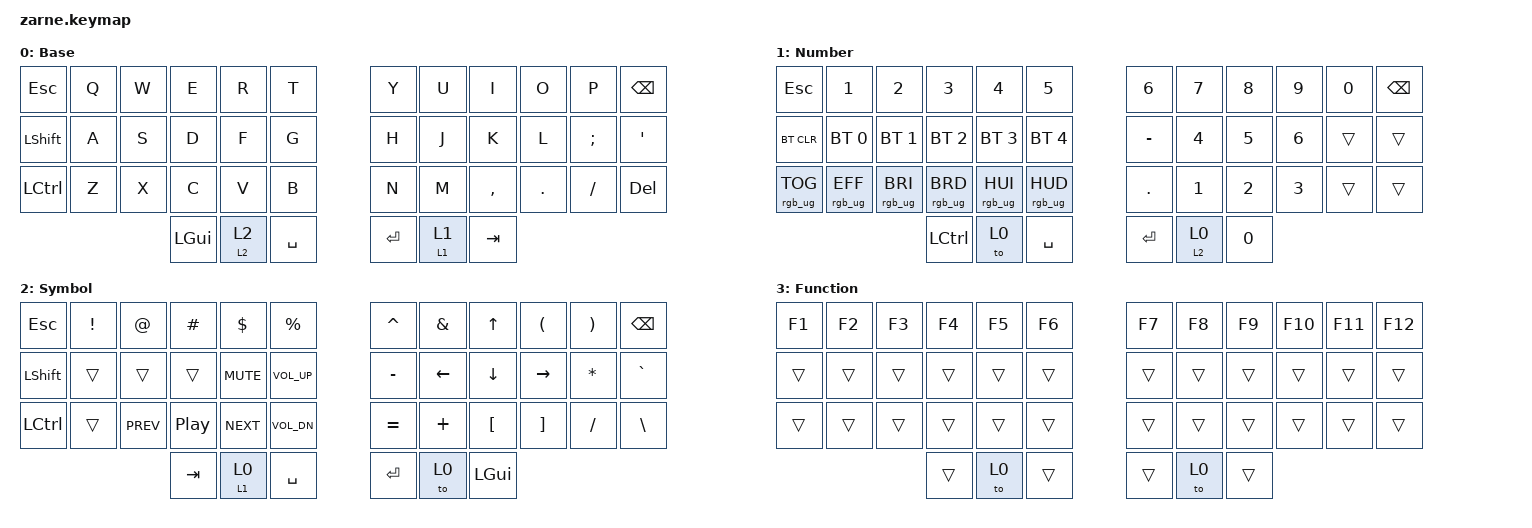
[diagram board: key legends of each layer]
/*
 * Copyright (c) 2020 The ZMK Contributors
 *
 * SPDX-License-Identifier: MIT
 */

#include <behaviors.dtsi>
#include <dt-bindings/zmk/bt.h>
#include <dt-bindings/zmk/keys.h>
#include <dt-bindings/zmk/rgb.h>

/ {
    combos {
        compatible = "zmk,combos";

        Both {
            bindings = <&fix 0 3>;
            key-positions = <37 40>;
            layers = <0 2 3 1>;
        };

        Alt {
            bindings = <&kp LEFT_ALT>;
            key-positions = <40 41>;
            layers = <0 2 3 1>;
        };

        Super {
            bindings = <&kp TAB>;
            key-positions = <36 37>;
            layers = <0 2 3 1>;
        };

        symbol-alt {
            bindings = <&Lower 2 2>;
            key-positions = <40 39>;
        };

        num-alt {
            bindings = <&Lower 1 1>;
            key-positions = <37 38>;
        };

        alt-tab {
            bindings = <&kp LA(TAB)>;
            key-positions = <12 0>;
        };
    };

    behaviors {
        Raise: Raise {
            compatible = "zmk,behavior-hold-tap";
            label = "RAISE";
            bindings = <&mo>, <&to>;

            #binding-cells = <2>;
            tapping-term-ms = <200>;
            hold-while-undecided;
        };

        Lower: Lower {
            compatible = "zmk,behavior-hold-tap";
            label = "LOWER";
            bindings = <&mo>, <&to>;

            #binding-cells = <2>;
            tapping-term-ms = <200>;
            flavor = "balanced";
            hold-while-undecided;
        };

        fix: fix {
            compatible = "zmk,behavior-hold-tap";
            label = "FIX";
            bindings = <&to>, <&to>;

            #binding-cells = <2>;
            tapping-term-ms = <200>;
            flavor = "balanced";
        };
    };

    macros {
        word: word {
            compatible = "zmk,behavior-macro";
            #binding-cells = <0>;
            bindings = <&kp LC(LA(DEL))>;
            label = "WORD";
        };
    };

    keymap {
        compatible = "zmk,keymap";

        BAS {
            display-name = "Base";

            // -----------------------------------------------------------------------------------------
            // |  TAB |  Q  |  W  |  E  |  R  |  T  |   |  Y  |  U   |  I  |  O  |  P  | BSPC |
            // | CTRL |  A  |  S  |  D  |  F  |  G  |   |  H  |  J   |  K  |  L  |  ;  |  '   |
            // | SHFT |  Z  |  X  |  C  |  V  |  B  |   |  N  |  M   |  ,  |  .  |  /  | ESC  |
            //                    | GUI | LWR | SPC |   | ENT | RSE  | ALT |

            bindings = <
&kp ESC    &kp Q  &kp W  &kp E         &kp R       &kp T        &kp Y    &kp U       &kp I      &kp O    &kp P     &kp BSPC
&kp LSHFT  &kp A  &kp S  &kp D         &kp F       &kp G        &kp H    &kp J       &kp K      &kp L    &kp SEMI  &kp SQT
&kp LCTRL  &kp Z  &kp X  &kp C         &kp V       &kp B        &kp N    &kp M       &kp COMMA  &kp DOT  &kp FSLH  &kp DEL
                         &kp LEFT_GUI  &Lower 2 2  &kp SPACE    &kp RET  &Raise 1 1  &kp TAB
            >;
        };

        NUM {
            display-name = "Number";

            // -----------------------------------------------------------------------------------------
            // |  TAB |  1  |  2  |  3  |  4  |  5  |   |  6  |  7  |  8  |  9  |  0  | BSPC |
            // | BTCLR| BT1 | BT2 | BT3 | BT4 | BT5 |   | LFT | DWN |  UP | RGT |     |      |
            // | SHFT |     |     |     |     |     |   |     |     |     |     |     |      |
            //                    | GUI |     | SPC |   | ENT |     | ALT |

            bindings = <
&kp ESCAPE       &kp N1           &kp N2           &kp N3           &kp N4           &kp N5             &kp N6      &kp N7      &kp N8  &kp N9  &kp N0  &kp BSPC
&bt BT_CLR       &bt BT_SEL 0     &bt BT_SEL 1     &bt BT_SEL 2     &bt BT_SEL 3     &bt BT_SEL 4       &kp MINUS   &kp N4      &kp N5  &kp N6  &trans  &trans
&rgb_ug RGB_TOG  &rgb_ug RGB_EFF  &rgb_ug RGB_BRI  &rgb_ug RGB_BRD  &rgb_ug RGB_HUI  &rgb_ug RGB_HUD    &kp DOT     &kp N1      &kp N2  &kp N3  &trans  &trans
                                                   &kp LCTRL        &to 0            &kp SPACE          &kp RET     &Raise 2 0  &kp N0
            >;
        };

        SYM {
            display-name = "Symbol";

            // -----------------------------------------------------------------------------------------
            // |  TAB |  !  |  @  |  #  |  $  |  %  |   |  ^  |  &  |  *  |  (  |  )  | BSPC |
            // | CTRL |     |     |     |     |     |   |  -  |  =  |  [  |  ]  |  \  |  `   |
            // | SHFT |     |     |     |     |     |   |  _  |  +  |  {  |  }  | "|" |  ~   |
            //                    | GUI |     | SPC |   | ENT |     | ALT |

            bindings = <
&kp ESC    &kp EXCL  &kp AT      &kp HASH  &kp DLLR    &kp PRCNT       &kp CARET  &kp AMPS  &kp UP            &kp LPAR           &kp RPAR      &kp BSPC
&kp LSHFT  &trans    &trans      &trans    &kp C_MUTE  &kp C_VOL_UP    &kp MINUS  &kp LEFT  &kp DOWN          &kp RIGHT          &kp ASTERISK  &kp GRAVE
&kp LCTRL  &trans    &kp C_PREV  &kp C_PP  &kp C_NEXT  &kp C_VOL_DN    &kp EQUAL  &kp PLUS  &kp LEFT_BRACKET  &kp RIGHT_BRACKET  &kp SLASH     &kp BSLH
                                 &kp TAB   &Lower 1 0  &kp SPACE       &kp RET    &to 0     &kp LEFT_GUI
            >;
        };

        FN {
            display-name = "Function";
            bindings = <
&kp F1  &kp F2  &kp F3  &kp F4  &kp F5  &kp F6    &kp F7  &kp F8  &kp F9  &kp F10  &kp F11  &kp F12
&trans  &trans  &trans  &trans  &trans  &trans    &trans  &trans  &trans  &trans   &trans   &trans
&trans  &trans  &trans  &trans  &trans  &trans    &trans  &trans  &trans  &trans   &trans   &trans
                        &trans  &to 0   &trans    &trans  &to 0   &trans
            >;
        };

        //        PLV {
        //            display-name = "Steno";
        //            bindings = <
        //&kp ESC  &kp PLV_SL  &kp PLV_TL  &kp PLV_PL  &kp PLV_HL  &kp PLV_ST    &kp PLV_ST  &kp PLV_FR  &kp PLV_PR  &kp PLV_LR  &kp PLV_TR  &kp PLV_DR
        //&kp TAB  &kp PLV_SL  &kp PLV_KL  &kp PLV_WL  &kp PLV_RL  &kp PLV_ST    &kp PLV_ST  &kp PLV_RR  &kp PLV_BR  &kp PLV_GR  &kp PLV_SR  &kp PLV_ZR
        //&to 0    &kp PLV_X1  &kp PLV_X2  &kp PLV_X3  &kp PLV_X4  &kp PLV_X5    &kp PLV_X6  &kp PLV_X7  &kp PLV_X8  &kp PLV_X9  &kp PLV_X10  &none
        //                                 &kp PLV_NM  &kp PLV_A   &kp PLV_O     &kp PLV_E   &kp PLV_U   &kp PLV_NM
        //            >;
        //        };
    };

    kscan0: kscan {
        compatible = "zmk,kscan-gpio-matrix";
        wakeup-source;
        diode-direction = "col2row";
        row-gpios =
            <&gpio1 0 (GPIO_ACTIVE_HIGH | GPIO_PULL_DOWN)>,
            <&gpio0 11 (GPIO_ACTIVE_HIGH | GPIO_PULL_DOWN)>,
            <&gpio1 4 (GPIO_ACTIVE_HIGH | GPIO_PULL_DOWN)>,
            <&gpio1 6 (GPIO_ACTIVE_HIGH | GPIO_PULL_DOWN)>;
    };
};
